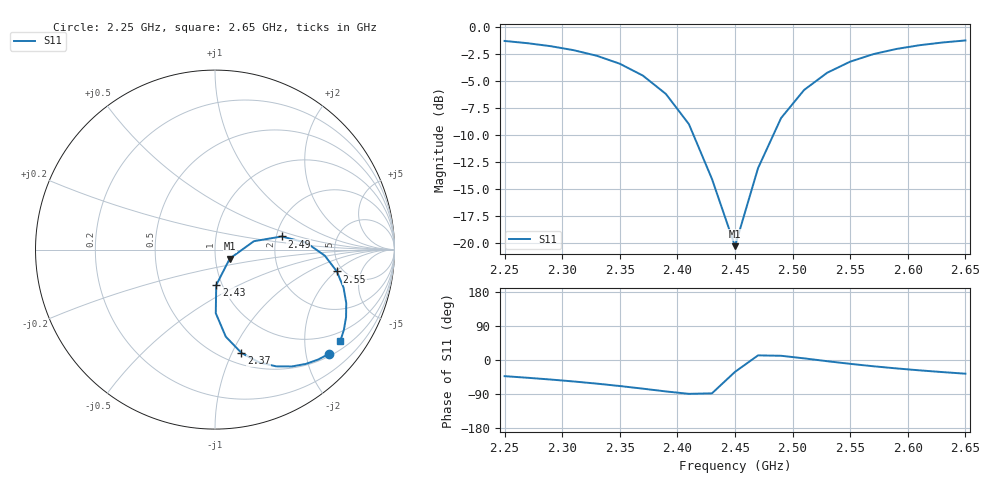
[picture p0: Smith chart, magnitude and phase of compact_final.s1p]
# Hz S RI R 50
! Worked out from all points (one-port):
!   21 points, 2.25 GHz to 2.65 GHz, reference 50 ohm
!   lowest |S11| = -20.3 dB at 2.45 GHz (marker M1), VSWR 1.21, Z = 58.7 - j5.93 ohm
!   |S11| at or under -10 dB: 2.414 GHz to 2.483 GHz (69.45 MHz wide, 2.84 % of centre)
!   S11 on the Smith chart (normalised r, x): 2.25 GHz: 0.55, -2.46; 2.37 GHz: 0.61, -1.09; 2.43 GHz: 0.94, -0.39; 2.49 GHz: 2.14, +0.36; 2.55 GHz: 4.45, -2.06; 2.65 GHz: 0.72, -2.90
2.25e9  0.6327 -0.5824
2.27e9  0.5737 -0.613
2.29e9  0.5058 -0.6369
2.31e9  0.4283 -0.6511
2.33e9  0.341 -0.6504
2.35e9  0.2455 -0.6283
2.37e9  0.1476 -0.5759
2.39e9  0.06 -0.4851
2.41e9  0.00432 -0.3541
2.43e9  0.00688 -0.1974
2.45e9  0.0824 -0.0501
2.47e9  0.2165 0.0467
2.49e9  0.3708 0.0731
2.51e9  0.5086 0.0384
2.53e9  0.6118 -0.0337
2.55e9  0.6789 -0.1217
2.57e9  0.7162 -0.212
2.59e9  0.7312 -0.2977
2.61e9  0.7303 -0.3762
2.63e9  0.7181 -0.4468
2.65e9  0.6982 -0.5099
